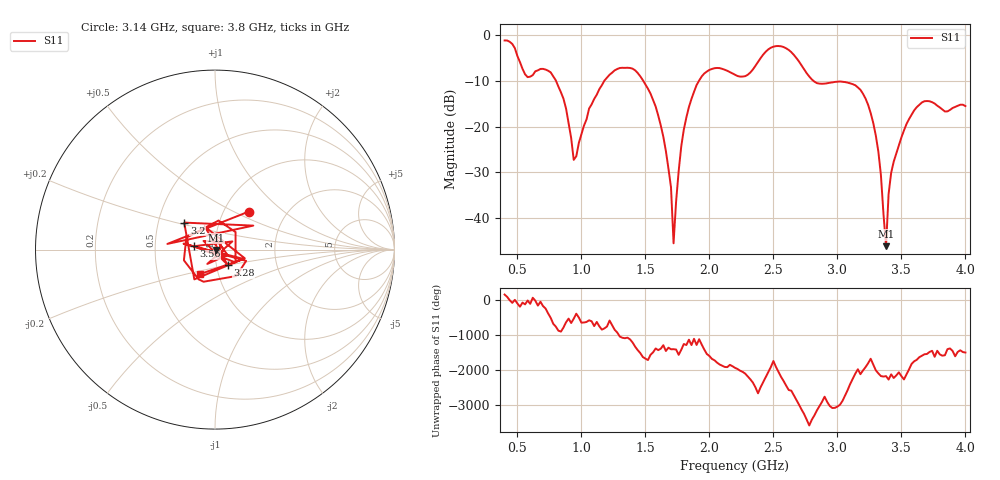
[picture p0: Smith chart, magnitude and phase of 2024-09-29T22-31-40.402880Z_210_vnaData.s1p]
!Created with skrf (http://scikit-rf.org).
# Hz S RI R 50.0
!freq ReS11 ImS11
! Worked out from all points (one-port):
!   181 points, 400 MHz to 4 GHz, reference 50 ohm
!   lowest |S11| = -46.1 dB at 3.38 GHz (marker M1), VSWR 1.01, Z = 50.5 - j0.201 ohm
!   |S11| at or under -10 dB: 801.2 MHz to 1.179 GHz (378 MHz wide, 38.2 % of centre); 1.483 GHz to 1.919 GHz (435.9 MHz wide, 25.6 % of centre); 2.812 GHz to end of sweep
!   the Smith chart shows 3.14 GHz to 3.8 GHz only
!   S11 on the Smith chart (normalised r, x): 3.14 GHz: 1.30, +0.60; 3.2 GHz: 0.68, +0.22; 3.28 GHz: 1.13, -0.19; 3.56 GHz: 0.79, +0.03; 3.8 GHz: 0.81, -0.23
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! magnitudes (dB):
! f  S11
! 400 MHz  -1.2
! 580 MHz  -9.2
! 860 MHz  -13.9
! 940 MHz  -27.3
! 1.06 GHz  -16.1
! 1.3 GHz  -7.2
! 1.44 GHz  -8.3
! 1.58 GHz  -15.6
! 1.7 GHz  -33.2
! 1.72 GHz  -45.4
! 1.76 GHz  -29.7
! 1.82 GHz  -18.0
! 1.92 GHz  -9.9
! 2.2 GHz  -8.7
! 2.5 GHz  -2.6
! 2.66 GHz  -4.4
! 2.84 GHz  -10.5
! 3.1 GHz  -10.6
! 3.14 GHz  -11.0
! 3.2 GHz  -12.8
! 3.28 GHz  -19.2
! 3.34 GHz  -30.5
! 3.38 GHz  -46.1
! 3.4 GHz  -34.7
! 3.42 GHz  -30.1
! 3.56 GHz  -18.3
! 3.8 GHz  -15.8
! 4 GHz  -15.5
